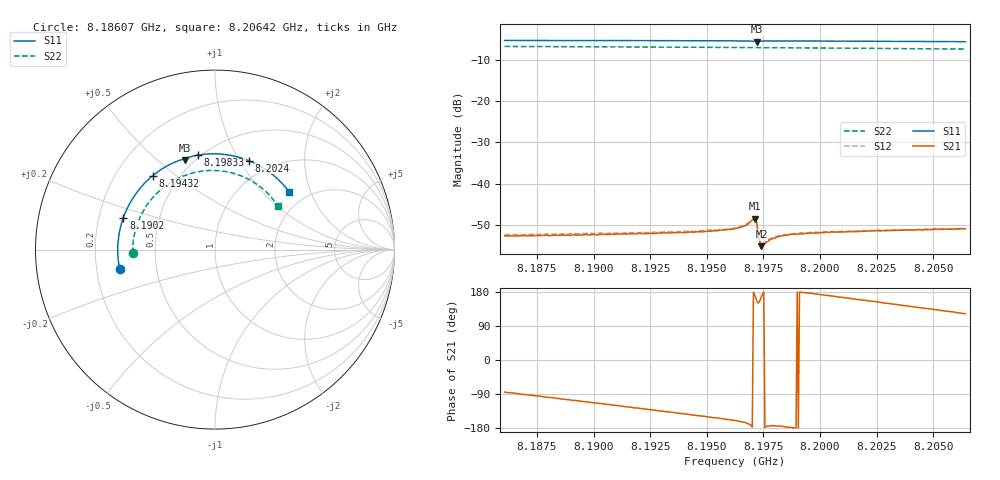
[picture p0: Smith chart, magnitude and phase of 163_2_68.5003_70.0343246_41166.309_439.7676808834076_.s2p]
#  HZ  S  RI  R  50.00
! Rohde & Schwarz Vector Network Analyzer
! Rohde-Schwarz,ZNB20-2Port,1311601062101988,3.16
! Created: UTC 3/20/2024, 4:55:52 PM
! freq[Hz]  re:S11  im:S11  re:S21  im:S21  re:S12  im:S12  re:S22  im:S22
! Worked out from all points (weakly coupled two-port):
!   401 points, 8.18607 GHz to 8.20642 GHz, reference 50 ohm
!   highest |S21| = -48.51 dB at 8.19711 GHz (marker M1); lowest = -55.2 dB at 8.19742 GHz (marker M2)
!   lowest |S11| = -5.6 dB at 8.19721 GHz (marker M3), VSWR 3.20, Z = 22.6 + j30.9 ohm
!   |S11| at or under -10 dB: nowhere
!   |S22| runs from -7.4 to -6.8 dB; largest |S21 - S12| = 0.00018
!   S11 on the Smith chart (normalised r, x): 8.18607 GHz: 0.30, -0.09; 8.1902 GHz: 0.31, +0.15; 8.19432 GHz: 0.36, +0.42; 8.19833 GHz: 0.48, +0.71; 8.2024 GHz: 0.80, +1.10; 8.20642 GHz: 1.61, +1.44
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8.186075e9  -0.532 -0.1063  0.000223 -0.00231  0.000184 -0.0024  -0.4584 -0.0198
8.187804e9  -0.5418 0.014  -0.000285 -0.00234  -0.000329 -0.0024  -0.4508 0.0756
8.189483e9  -0.5254 0.1304  -0.000791 -0.00226  -0.000855 -0.00232  -0.4244 0.1644
8.190195e9  -0.5108 0.1777  -0.000998 -0.00219  -0.00112 -0.00226  -0.4079 0.2005
8.192891e9  -0.4175 0.3415  -0.00176 -0.00178  -0.00185 -0.00182  -0.3184 0.3193
8.194315e9  -0.3465 0.4123  -0.00211 -0.0015  -0.0022 -0.00148  -0.2563 0.3687
8.195384e9  -0.2852 0.4558  -0.00236 -0.00124  -0.00244 -0.00119  -0.2045 0.3979
8.196248e9  -0.2304 0.4846  -0.00268 -0.000998  -0.00277 -0.000919  -0.1596 0.4165
8.196655e9  -0.2028 0.4958  -0.00294 -0.000817  -0.00305 -0.000692  -0.1379 0.4233
8.197011e9  -0.1756 0.5019  -0.00361 -0.000182  -0.00365 -9.19e-05  -0.1186 0.4286
8.197113e9  -0.168 0.5  -0.00372 0.000497  -0.00376 0.000631  -0.113 0.4299
8.197164e9  -0.1659 0.4979  -0.0035 0.000977  -0.00353 0.00115  -0.1101 0.4303
8.197215e9  -0.1658 0.4969  -0.00294 0.00132  -0.00294 0.00148  -0.1075 0.4309
8.197367e9  -0.1632 0.5044  -0.00174 0.000643  -0.00176 0.00071  -0.0993 0.4328
8.197418e9  -0.1599 0.5072  -0.00171 0.000363  -0.00174 0.000425  -0.0964 0.4334
8.19752e9  -0.1525 0.5113  -0.00181 3.82e-05  -0.00185 8.73e-05  -0.0908 0.4346
8.197876e9  -0.1266 0.5199  -0.00213 -0.000226  -0.00217 -0.00016  -0.0709 0.4375
8.198334e9  -0.0939 0.5266  -0.00231 -0.000219  -0.00236 -8.18e-05  -0.0452 0.4403
8.199656e9  -0.000278 0.5336  -0.00251 0.000172  -0.00253 0.000313  0.0296 0.4391
8.202403e9  0.1893 0.4953  -0.00242 0.00114  -0.00238 0.00128  0.1792 0.3961
8.203065e9  0.2319 0.476  -0.00231 0.00137  -0.0023 0.00147  0.2125 0.3778
8.206422e9  0.4122 0.3234  -0.00152 0.0024  -0.00146 0.00245  0.3508 0.2421
